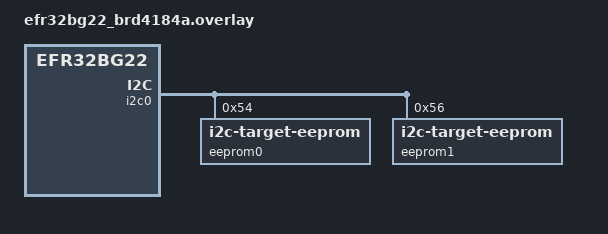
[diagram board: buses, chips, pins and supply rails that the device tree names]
/* SPDX-License-Identifier: Apache-2.0 */

&i2c0 {
	eeprom0: eeprom@54 {
		compatible = "zephyr,i2c-target-eeprom";
		reg = <0x54>;
		size = <1024>;
	};
	eeprom1: eeprom@56 {
		compatible = "zephyr,i2c-target-eeprom";
		reg = <0x56>;
		size = <1024>;
	};
};
